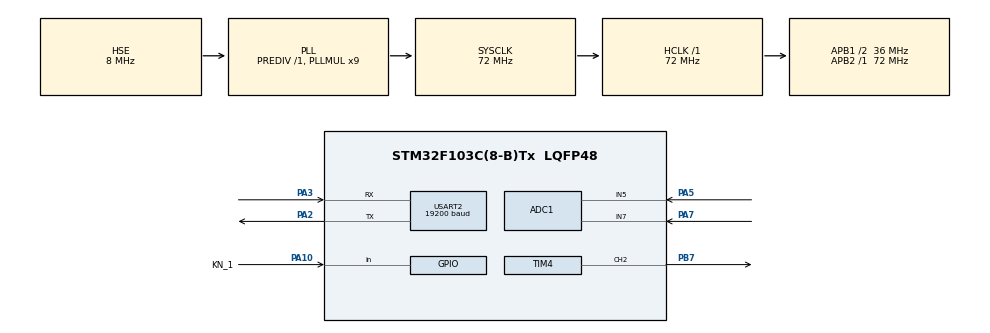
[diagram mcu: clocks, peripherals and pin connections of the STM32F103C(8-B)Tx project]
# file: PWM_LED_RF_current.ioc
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ADC1.Channel-0\#ChannelRegularConversion=ADC_CHANNEL_5
ADC1.Channel-1\#ChannelRegularConversion=ADC_CHANNEL_7
ADC1.ContinuousConvMode=ENABLE
ADC1.NbrOfConversion=2
ADC1.NbrOfConversionFlag=1
ADC1.Rank-0\#ChannelRegularConversion=1
ADC1.Rank-1\#ChannelRegularConversion=2
ADC1.SamplingTime-0\#ChannelRegularConversion=ADC_SAMPLETIME_55CYCLES_5
ADC1.SamplingTime-1\#ChannelRegularConversion=ADC_SAMPLETIME_55CYCLES_5
ADC1.master=1
Dma.ADC1.0.Direction=DMA_PERIPH_TO_MEMORY
Dma.ADC1.0.Instance=DMA1_Channel1
Dma.ADC1.0.MemDataAlignment=DMA_MDATAALIGN_HALFWORD
Dma.ADC1.0.MemInc=DMA_MINC_ENABLE
Dma.ADC1.0.Mode=DMA_CIRCULAR
Dma.ADC1.0.PeriphDataAlignment=DMA_PDATAALIGN_HALFWORD
Dma.ADC1.0.PeriphInc=DMA_PINC_DISABLE
Dma.ADC1.0.Priority=DMA_PRIORITY_LOW
Dma.Request0=ADC1
Mcu.Family=STM32F1
Mcu.Name=STM32F103C(8-B)Tx
Mcu.Package=LQFP48
NVIC.DMA1_Channel1_IRQn=true\:0\:0\:false\:false\:true\:false\:true
NVIC.PriorityGroup=NVIC_PRIORITYGROUP_4
NVIC.TIM1_UP_IRQn=true\:0\:0\:false\:false\:true\:true\:true
NVIC.TIM3_IRQn=true\:0\:0\:false\:false\:true\:true\:true
NVIC.USART2_IRQn=true\:0\:0\:false\:false\:true\:true\:true
PA10.GPIO_Label=KN_1
PA10.Signal=GPIO_Input
PA13.Mode=Serial_Wire
PA13.Signal=SYS_JTMS-SWDIO
PA14.Mode=Serial_Wire
PA14.Signal=SYS_JTCK-SWCLK
PA2.Mode=Asynchronous
PA2.Signal=USART2_TX
PA3.Mode=Asynchronous
PA3.Signal=USART2_RX
PA5.Signal=ADCx_IN5
PA7.Signal=ADCx_IN7
PB7.Signal=S_TIM4_CH2
PD0-OSC_IN.Mode=HSE-External-Oscillator
PD0-OSC_IN.Signal=RCC_OSC_IN
PD1-OSC_OUT.Mode=HSE-External-Oscillator
PD1-OSC_OUT.Signal=RCC_OSC_OUT
ProjectManager.HeapSize=0x200
ProjectManager.StackSize=0x400
ProjectManager.TargetToolchain=MDK-ARM V5.32
RCC.ADCPresc=RCC_ADCPCLK2_DIV6
RCC.AHBFreq_Value=72000000
RCC.APB1CLKDivider=RCC_HCLK_DIV2
RCC.APB1Freq_Value=36000000
RCC.APB1TimFreq_Value=72000000
RCC.APB2Freq_Value=72000000
RCC.APB2TimFreq_Value=72000000
RCC.HCLKFreq_Value=72000000
RCC.PLLMUL=RCC_PLL_MUL9
RCC.PLLSourceVirtual=RCC_PLLSOURCE_HSE
RCC.SYSCLKFreq_VALUE=72000000
RCC.SYSCLKSource=RCC_SYSCLKSOURCE_PLLCLK
RCC.USBFreq_Value=72000000
SH.ADCx_IN5.0=ADC1_IN5,IN5
SH.ADCx_IN7.0=ADC1_IN7,IN7
SH.S_TIM4_CH2.0=TIM4_CH2,PWM Generation2 CH2
TIM3.Period=2580
TIM4.Channel-PWM\ Generation2\ CH2=TIM_CHANNEL_2
USART2.BaudRate=19200
USART2.VirtualMode=VM_ASYNC
VP_TIM1_VS_ClockSourceINT.Mode=Internal
VP_TIM3_VS_ClockSourceINT.Mode=Internal
VP_TIM4_VS_ClockSourceINT.Mode=Internal
board=custom

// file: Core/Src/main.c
/* USER CODE BEGIN Header */
/**
  ******************************************************************************
  * @file           : main.c
  * @brief          : Main program body
  ******************************************************************************
  * @attention
  *
  * <h2><center>&copy; Copyright (c) 2021 STMicroelectronics.
  * All rights reserved.</center></h2>
  *
  * This software component is licensed by ST under BSD 3-Clause license,
  * the "License"; You may not use this file except in compliance with the
  * License. You may obtain a copy of the License at:
  *                        opensource.org/licenses/BSD-3-Clause
  *
  ******************************************************************************
  */
/* USER CODE END Header */
#include "main.h"
#include "adc.h"
#include "dma.h"
#include "tim.h"
#include "usart.h"
#include "gpio.h"

/* USER CODE BEGIN Includes */
#include "setup.h"
#include "control.h"

/* USER CODE END Includes */

void SystemClock_Config(void);

int main(void)
{

  /* MCU Configuration--------------------------------------------------------*/

  /* Reset of all peripherals, Initializes the Flash interface and the Systick. */
  HAL_Init();

  /* USER CODE BEGIN Init */
    SETUP_Load();

  /* USER CODE END Init */

  /* Configure the system clock */
  SystemClock_Config();

  /* Initialize all configured peripherals */
  MX_GPIO_Init();
  MX_TIM1_Init();
  MX_TIM3_Init();
  MX_TIM4_Init();
  MX_DMA_Init();
  MX_ADC1_Init();
  MX_USART2_UART_Init();
  /* USER CODE BEGIN 2 */

    LL_USART_EnableIT_RXNE(USART2);
    LL_USART_EnableIT_ERROR(USART2);

    HAL_TIM_Base_Start_IT(&htim1);
    HAL_TIM_Base_Start_IT(&htim3);

    HAL_Delay(100);

    if(hadc1.Instance == ADC1)
    {
        HAL_ADCEx_Calibration_Start(&hadc1);
        HAL_ADC_Start_DMA(&hadc1, (uint32_t*)adc_data, ARR1_SIZE*2);
    }

    HAL_Delay(100);
    HAL_TIM_PWM_Start(&htim4, TIM_CHANNEL_2);
    HAL_Delay(100);
    dev_var.delta_pwm = 11;
    dev_var.start = 0;
  /* USER CODE END 2 */

  /* Infinite loop */
  /* USER CODE BEGIN WHILE */
  while (1)
  {
      USART2_Proc();
      SYSTEM_Proc();
      CONTROL_Proc();
    /* USER CODE END WHILE */

  }
}

void SystemClock_Config(void)
{
  RCC_OscInitTypeDef RCC_OscInitStruct = {0};
  RCC_ClkInitTypeDef RCC_ClkInitStruct = {0};
  RCC_PeriphCLKInitTypeDef PeriphClkInit = {0};

  /** Initializes the RCC Oscillators according to the specified parameters
  * in the RCC_OscInitTypeDef structure.
  */
  RCC_OscInitStruct.OscillatorType = RCC_OSCILLATORTYPE_HSE;
  RCC_OscInitStruct.HSEState = RCC_HSE_ON;
  RCC_OscInitStruct.HSEPredivValue = RCC_HSE_PREDIV_DIV1;
  RCC_OscInitStruct.HSIState = RCC_HSI_ON;
  RCC_OscInitStruct.PLL.PLLState = RCC_PLL_ON;
  RCC_OscInitStruct.PLL.PLLSource = RCC_PLLSOURCE_HSE;
  RCC_OscInitStruct.PLL.PLLMUL = RCC_PLL_MUL9;
  if (HAL_RCC_OscConfig(&RCC_OscInitStruct) != HAL_OK)
  {
    Error_Handler();
  }
  /** Initializes the CPU, AHB and APB buses clocks
  */
  RCC_ClkInitStruct.ClockType = RCC_CLOCKTYPE_HCLK|RCC_CLOCKTYPE_SYSCLK
                              |RCC_CLOCKTYPE_PCLK1|RCC_CLOCKTYPE_PCLK2;
  RCC_ClkInitStruct.SYSCLKSource = RCC_SYSCLKSOURCE_PLLCLK;
  RCC_ClkInitStruct.AHBCLKDivider = RCC_SYSCLK_DIV1;
  RCC_ClkInitStruct.APB1CLKDivider = RCC_HCLK_DIV2;
  RCC_ClkInitStruct.APB2CLKDivider = RCC_HCLK_DIV1;

  if (HAL_RCC_ClockConfig(&RCC_ClkInitStruct, FLASH_LATENCY_2) != HAL_OK)
  {
    Error_Handler();
  }
  PeriphClkInit.PeriphClockSelection = RCC_PERIPHCLK_ADC;
  PeriphClkInit.AdcClockSelection = RCC_ADCPCLK2_DIV6;
  if (HAL_RCCEx_PeriphCLKConfig(&PeriphClkInit) != HAL_OK)
  {
    Error_Handler();
  }
}

void Error_Handler(void)
{
  __disable_irq();
  while (1)
  {
  }
}

/************************ (C) COPYRIGHT STMicroelectronics *****END OF FILE****/
